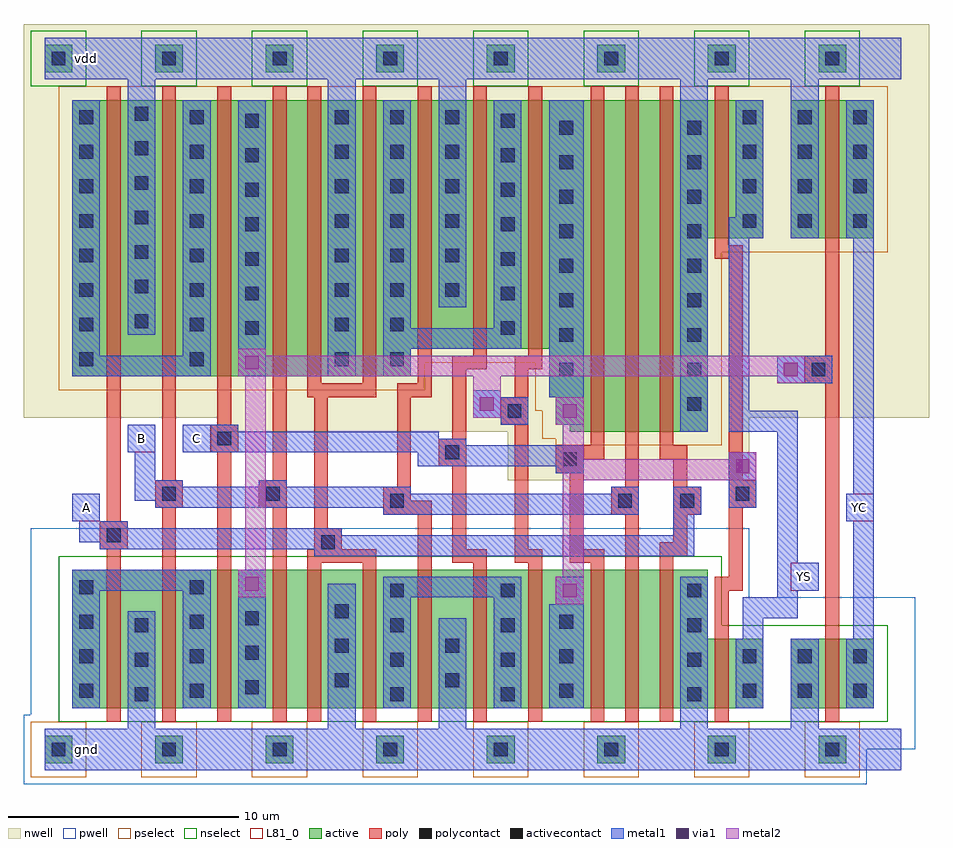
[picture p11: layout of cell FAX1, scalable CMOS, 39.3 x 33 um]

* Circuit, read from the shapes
.subckt FAX1 A B C YC YS gnd vdd
M1 gnd A n1 gnd nfet w=6u l=0.6u
M2 n1 B gnd gnd nfet w=6u l=0.6u
M3 n2 C n1 gnd nfet w=6u l=0.6u
M4 n3 B n2 gnd nfet w=6u l=0.6u
M5 gnd A n3 gnd nfet w=6u l=0.6u
M6 n4 A gnd gnd nfet w=6u l=0.6u
M7 gnd B n4 gnd nfet w=6u l=0.6u
M8 n4 C gnd gnd nfet w=6u l=0.6u
M9 n5 n2 n4 gnd nfet w=6u l=0.6u
M10 n6 C n5 gnd nfet w=6u l=0.6u
M11 n7 B n6 gnd nfet w=6u l=0.6u
M12 gnd A n7 gnd nfet w=6u l=0.6u
M13 YS n5 gnd gnd nfet w=3u l=0.6u
M14 YC n2 gnd gnd nfet w=3u l=0.6u
M15 vdd A n8 vdd pfet w=12u l=0.6u
M16 n8 B vdd vdd pfet w=12u l=0.6u
M17 n2 C n8 vdd pfet w=12u l=0.6u
M18 n9 B n2 vdd pfet w=12u l=0.6u
M19 vdd A n9 vdd pfet w=12u l=0.6u
M20 n10 A vdd vdd pfet w=12u l=0.6u
M21 vdd B n10 vdd pfet w=10.8u l=0.6u
M22 n10 C vdd vdd pfet w=10.8u l=0.6u
M23 n5 n2 n10 vdd pfet w=10.8u l=0.6u
M24 n11 C n5 vdd pfet w=14.4u l=0.6u
M25 n12 B n11 vdd pfet w=14.4u l=0.6u
M26 vdd A n12 vdd pfet w=14.4u l=0.6u
M27 YS n5 vdd vdd pfet w=6u l=0.6u
M28 YC n2 vdd vdd pfet w=6u l=0.6u
.ends

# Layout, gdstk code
import gdstk
lib = gdstk.Library(unit=1e-6, precision=1e-09)
def R(c, l, rs):  # rectangles x0, y0, x1, y1
    for r in rs: c.add(gdstk.rectangle(r[:2], r[2:], *l))
def A(c, l, x, y, w, h, nx, ny, dx, dy):  # array of equal rectangles
    R(c, l, [(x+i*dx, y+j*dy, x+i*dx+w, y+j*dy+h) for i in range(nx) for j in range(ny)])
pwell = (41, 0)
nwell = (42, 0)
active = (43, 0)
pselect = (44, 0)
nselect = (45, 0)
poly = (46, 0)
polycontact = (47, 0)
activecontact = (48, 0)
metal1 = (49, 0)
via1 = (50, 0)
metal2 = (51, 0)
L81_0 = (81, 0)

fax1 = lib.new_cell('FAX1')
R(fax1, pwell, [(-1.5,-1.5,35.1,0), (-1.5,0,37.2,1.5), (-1.2,1.5,37.2,6.6), (-1.2,6.6,30,9.6)])
R(fax1, nwell, [(19.5,11.7,30,13.8), (6.9,13.8,30,14.4), (-1.5,14.4,37.8,31.5)])
A(fax1, active, -0.6, -0.6, 1.2, 1.2, 8, 2, 4.8, 30)
R(fax1, active, [(0.6,1.8,30.6,4.8), (31.8,1.8,35.4,4.8), (0.6,4.8,28.2,7.8), (22.2,13.8,28.2,14.1), (21.6,14.1,28.2,15.3), (21.3,15.3,28.2,17.4), (0.6,16.2,15.3,17.4), (0.6,17.4,28.2,22.2), (0.6,22.2,30.6,28.2), (31.8,22.2,35.4,28.2)])
A(fax1, pselect, -1.2, -1.2, 2.4, 2.4, 8, 1, 4.8, 0)
R(fax1, pselect, [(21.6,13.2,28.8,13.5), (21,13.5,28.8,14.7), (20.7,14.7,28.8,16.8), (0,15.6,15.9,16.8), (0,16.8,28.8,21.6), (0,21.6,36,28.8)])
A(fax1, nselect, -1.2, 28.8, 2.4, 2.4, 8, 1, 4.8, 0)
R(fax1, nselect, [(0,1.2,36,5.4), (0,5.4,28.8,8.4)])
A(fax1, poly, 10.8, 15.9, 0.6, 12.9, 3, 1, 2.4, 0)
R(fax1, poly, [(2.1,1.2,2.7,8.7), (4.5,1.2,5.1,10.5), (6.9,1.2,7.5,12.9), (9.3,1.2,9.9,10.5), (10.8,1.2,11.4,8.1), (13.2,1.2,13.8,8.1), (15.6,1.2,16.2,10.2), (18,1.2,18.6,8.1), (20.4,1.2,21,8.1), (23.1,1.2,23.7,8.1), (24.6,1.2,25.2,10.2), (26.1,1.2,26.7,8.4), (28.5,1.2,29.1,6.9), (33.3,1.2,33.9,15.9), (28.5,6.9,29.7,7.5), (29.1,7.5,29.7,10.5), (10.8,8.1,13.8,8.7), (17.1,8.1,18.6,8.7), (19.8,8.1,21,8.7), (22.2,8.1,23.7,8.7), (26.1,8.4,27.3,9), (1.8,8.7,3,9.9), (11.1,8.7,12.3,9.6), (17.1,8.7,17.7,12.3), (19.8,8.7,20.4,14.1), (22.2,8.7,22.8,12), (26.7,9,27.3,10.2), (11.1,9.6,11.7,15.3), (2.1,9.9,2.7,28.8), (14.1,10.2,16.2,10.8), (24,10.2,25.2,11.4), (26.7,10.2,27.9,11.4), (4.2,10.5,5.4,11.7), (8.7,10.5,9.9,11.7), (29.1,10.5,30.3,11.7), (14.1,10.8,15.3,11.4), (14.7,11.4,15.3,15.3), (24.6,11.4,25.2,28.8), (26.7,11.4,27.3,12.6), (4.5,11.7,5.1,28.8), (9.3,11.7,9.9,28.8), (29.1,11.7,29.7,21.3), (21.6,12,22.8,12.6), (16.5,12.3,17.7,13.5), (21.6,12.6,23.7,13.2), (26.1,12.6,27.3,13.2), (6.6,12.9,7.8,14.1), (23.1,13.2,23.7,28.8), (26.1,13.2,26.7,28.8), (17.1,13.5,17.7,16.5), (6.9,14.1,7.5,28.8), (19.2,14.1,20.4,15.3), (10.8,15.3,13.8,15.9), (14.7,15.3,16.2,15.9), (19.8,15.3,20.4,16.5), (32.4,15.9,33.9,17.1), (17.1,16.5,18.6,17.1), (19.8,16.5,21,17.1), (18,17.1,18.6,28.8), (20.4,17.1,21,28.8), (33.3,17.1,33.9,28.8), (28.5,21.3,29.7,21.9), (28.5,21.9,29.1,28.8)])
R(fax1, polycontact, [(11.4,8.7,12,9.3), (2.1,9,2.7,9.6), (14.4,10.5,15,11.1), (24.3,10.5,24.9,11.1), (27,10.5,27.6,11.1), (4.5,10.8,5.1,11.4), (9,10.8,9.6,11.4), (29.4,10.8,30,11.4), (21.9,12.3,22.5,12.9), (16.8,12.6,17.4,13.2), (6.9,13.2,7.5,13.8), (19.5,14.4,20.1,15), (32.7,16.2,33.3,16.8)])
A(fax1, activecontact, -0.3, -0.3, 0.6, 0.6, 8, 2, 4.8, 30)
A(fax1, activecontact, 3.3, 2.1, 0.6, 0.6, 1, 3, 0, 1.5)
A(fax1, activecontact, 14.4, 2.1, 0.6, 0.6, 1, 4, 0, 1.5)
A(fax1, activecontact, 19.2, 2.1, 0.6, 0.6, 1, 4, 0, 1.5)
A(fax1, activecontact, 27.3, 2.1, 0.6, 0.6, 1, 4, 0, 1.5)
A(fax1, activecontact, 0.9, 2.25, 0.6, 0.6, 1, 4, 0, 1.5)
A(fax1, activecontact, 5.7, 2.25, 0.6, 0.6, 1, 4, 0, 1.5)
A(fax1, activecontact, 21.75, 2.25, 0.6, 0.6, 1, 3, 0, 1.5)
A(fax1, activecontact, 29.7, 2.25, 0.6, 0.6, 3, 2, 2.4, 1.5)
A(fax1, activecontact, 8.1, 2.4, 0.6, 0.6, 1, 3, 0, 1.5)
A(fax1, activecontact, 12, 2.7, 0.6, 0.6, 1, 3, 0, 1.5)
A(fax1, activecontact, 27.3, 14.7, 0.6, 0.6, 1, 9, 0, 1.5)
A(fax1, activecontact, 21.75, 16.2, 0.6, 0.6, 1, 8, 0, 1.5)
A(fax1, activecontact, 0.9, 16.65, 0.6, 0.6, 1, 8, 0, 1.5)
A(fax1, activecontact, 5.7, 16.65, 0.6, 0.6, 1, 8, 0, 1.5)
A(fax1, activecontact, 8.1, 18, 0.6, 0.6, 1, 7, 0, 1.5)
A(fax1, activecontact, 19.2, 18, 0.6, 0.6, 1, 7, 0, 1.5)
A(fax1, activecontact, 3.3, 18.3, 0.6, 0.6, 1, 7, 0, 1.5)
A(fax1, activecontact, 12, 19.65, 0.6, 0.6, 3, 6, 2.4, 1.5)
A(fax1, activecontact, 29.7, 22.65, 0.6, 0.6, 3, 4, 2.4, 1.5)
R(fax1, activecontact, [(16.8,2.7,17.4,3.3), (16.8,4.2,17.4,4.8), (12,16.65,12.6,17.25), (14.4,16.65,15,17.25), (12,18.15,12.6,18.75), (14.4,18.15,15,18.75)])
R(fax1, metal1, [(-0.6,-0.9,36.6,0.9), (3,0.9,4.2,6), (11.7,0.9,12.9,7.2), (16.5,0.9,17.7,5.7), (27,0.9,28.2,7.5), (31.8,0.9,33,4.8), (0.6,1.8,1.8,6.9), (5.4,1.8,6.6,6.9), (7.8,1.8,9,7.8), (14.1,1.8,15.3,6.6), (18.9,1.8,20.1,6.6), (21.3,1.8,22.8,6.3), (29.4,1.8,30.6,4.8), (34.2,1.8,35.4,4.8), (29.7,4.8,30.6,5.7), (34.5,4.8,35.4,9.9), (29.7,5.7,32.1,6.6), (21.6,6.3,22.8,7.5), (14.1,6.6,20.1,7.5), (31.2,6.6,32.1,6.9), (0.6,6.9,6.6,7.8), (31.2,6.9,33,8.1), (31.2,8.1,32.1,13.8), (11.1,8.4,27.6,8.7), (1.8,8.7,27.6,9), (0.9,9,27.6,9.3), (0.9,9.3,12.3,9.6), (26.7,9.3,27.6,10.2), (0.9,9.6,3,9.9), (0.6,9.9,1.8,11.1), (34.2,9.9,35.4,11.1), (14.1,10.2,25.2,10.5), (26.7,10.2,27.9,11.4), (4.2,10.5,25.2,10.8), (29.1,10.5,30.3,12.9), (3.3,10.8,25.2,11.1), (3.3,11.1,15.3,11.4), (24,11.1,25.2,11.4), (34.5,11.1,35.4,22.2), (3.3,11.4,5.4,11.7), (8.7,11.4,9.9,11.7), (3.3,11.7,4.2,12.9), (21.6,12,22.8,12.3), (15.6,12.3,22.8,12.9), (3,12.9,4.2,14.1), (5.4,12.9,22.8,13.2), (5.4,13.2,17.7,13.5), (5.4,13.5,16.5,13.8), (5.4,13.8,7.8,14.1), (27,13.8,28.2,29.1), (29.1,13.8,32.1,14.7), (19.2,14.1,20.4,14.4), (21.6,14.1,22.8,15.3), (18,14.4,20.4,15.3), (29.1,14.7,30,22.2), (18,15.3,19.2,15.6), (21.3,15.3,22.8,28.2), (31.2,15.9,33.6,17.1), (0.6,16.2,6.6,17.1), (7.8,16.2,9,28.2), (11.7,16.2,12.9,29.1), (14.1,16.2,15.3,17.4), (0.6,17.1,1.8,28.2), (5.4,17.1,6.6,28.2), (14.1,17.4,20.1,18.3), (3,18,4.2,29.1), (14.1,18.3,15.3,28.2), (18.9,18.3,20.1,28.2), (16.5,19.2,17.7,29.1), (29.1,22.2,30.6,23.1), (31.8,22.2,33,29.1), (34.2,22.2,35.4,28.2), (29.4,23.1,30.6,28.2), (-0.6,29.1,36.6,30.9)])
R(fax1, via1, [(21.9,6.6,22.5,7.2), (8.1,6.9,8.7,7.5), (29.4,12,30,12.6), (21.9,14.4,22.5,15), (18.3,14.7,18.9,15.3), (31.5,16.2,32.1,16.8), (8.1,16.5,8.7,17.1)])
R(fax1, metal2, [(21.6,6.3,22.8,7.5), (7.8,6.6,9,7.8), (21.9,7.5,22.8,11.7), (8.1,7.8,9,16.2), (21.9,11.7,30.3,12.6), (21.9,12.6,22.8,14.1), (29.1,12.6,30.3,12.9), (21.6,14.1,22.8,15.3), (18,14.4,19.2,16.2), (31.2,15.9,32.4,16.2), (7.8,16.2,32.4,17.1), (7.8,17.1,9,17.4)])
R(fax1, L81_0, [(31.8,6.9,33,8.1), (0.6,9.9,1.8,11.1), (34.2,9.9,35.4,11.1), (3,12.9,4.2,14.1), (5.4,12.9,6.6,14.1)])
fax1.add(gdstk.Label('gnd', (1.2,0), layer=49, texttype=0))
fax1.add(gdstk.Label('vdd', (1.2,30), layer=49, texttype=0))
fax1.add(gdstk.Label('A', (1.2,10.5), layer=49, texttype=0))
fax1.add(gdstk.Label('B', (3.6,13.5), layer=49, texttype=0))
fax1.add(gdstk.Label('C', (6,13.5), layer=49, texttype=0))
fax1.add(gdstk.Label('YC', (34.8,10.5), layer=49, texttype=0))
fax1.add(gdstk.Label('YS', (32.4,7.5), layer=49, texttype=0))

lib.write_gds('FAX1.gds')
